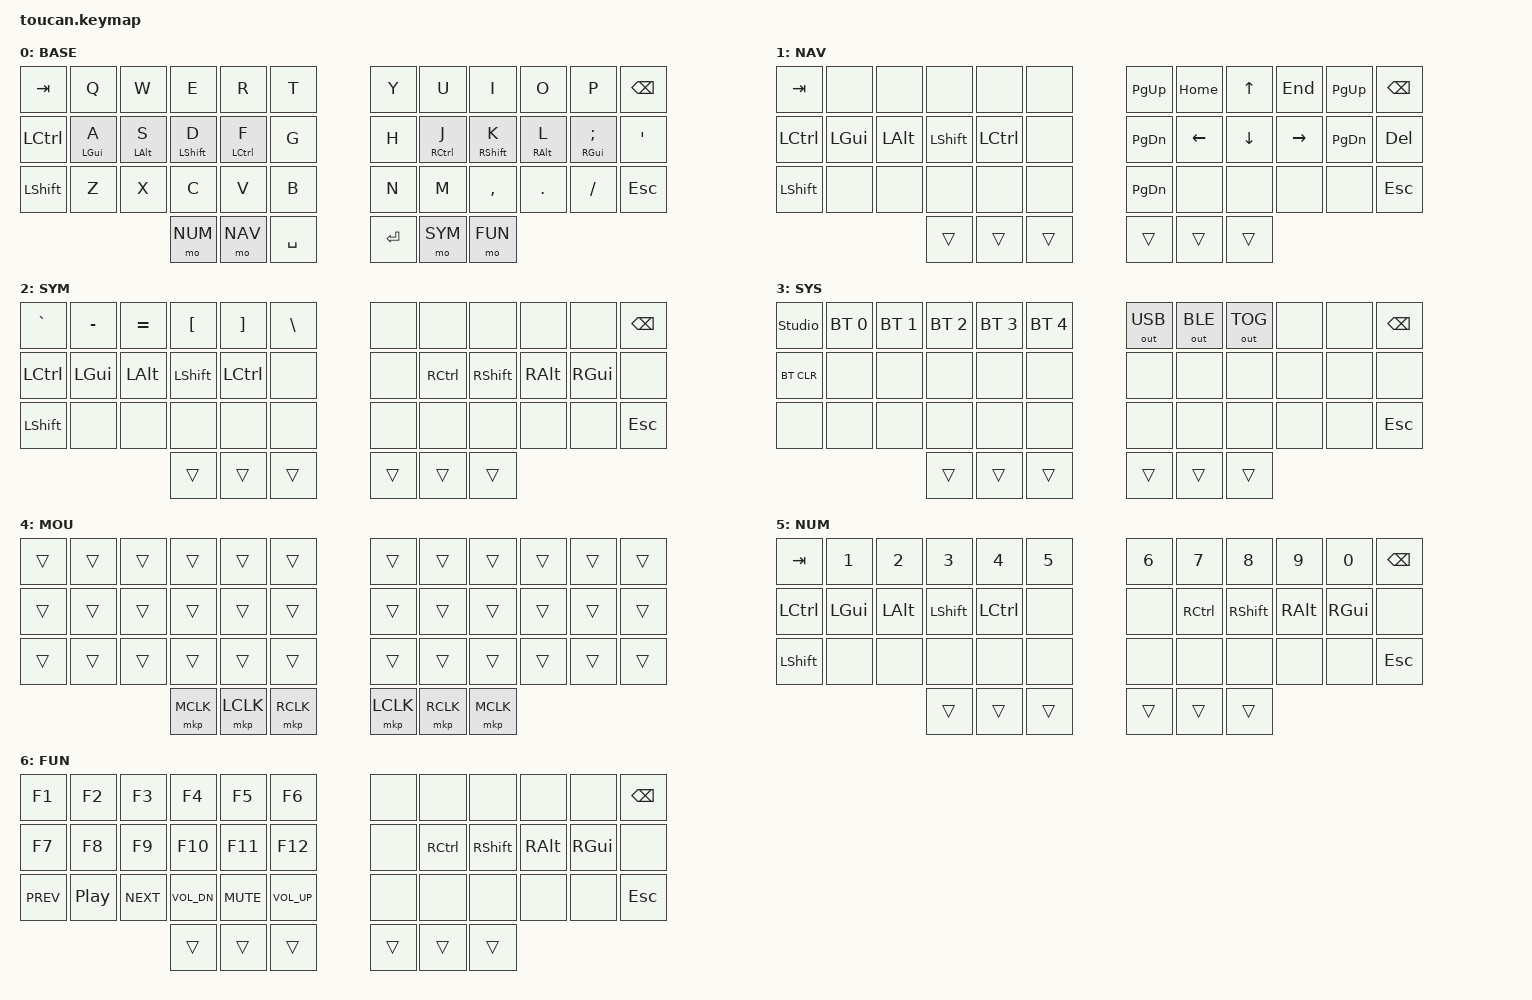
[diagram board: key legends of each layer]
#include <behaviors.dtsi>
#include <dt-bindings/zmk/keys.h>
#include <dt-bindings/zmk/bt.h>
#include <dt-bindings/zmk/outputs.h>
#include <dt-bindings/zmk/pointing.h>

#define BASE  0
#define NAV   1
#define SYM   2
#define SYS   3
#define MOUSE 4
#define NUM   5
#define FUN   6

/ {
    behaviors {
        hml: home_row_mod_left {
            compatible = "zmk,behavior-hold-tap";
            #binding-cells = <2>;

            flavor = "balanced";
            require-prior-idle-ms = <150>;
            tapping-term-ms = <280>;
            quick-tap-ms = <175>;

            bindings = <&kp>, <&kp>;

            hold-trigger-key-positions = <
                6 7 8 9 10 11
                18 19 20 21 22 23
                30 31 32 33 34 35
                39 40 41
            >;

            hold-trigger-on-release;

            display-name = "HRM Left";
        };

        hmr: home_row_mod_right {
            compatible = "zmk,behavior-hold-tap";
            #binding-cells = <2>;

            flavor = "balanced";
            require-prior-idle-ms = <150>;
            tapping-term-ms = <280>;
            quick-tap-ms = <175>;

            bindings = <&kp>, <&kp>;

            hold-trigger-key-positions = <
                0 1 2 3 4 5
                12 13 14 15 16 17
                24 25 26 27 28 29
                36 37 38
            >;

            hold-trigger-on-release;

            display-name = "HRM Right";
        };
    };

    conditional_layers {
        compatible = "zmk,conditional-layers";
        tri_layer {
            if-layers = <1 2>;
            then-layer = <3>;
        };
    };

    keymap {
        compatible = "zmk,keymap";

        base {
            display-name = "BASE";
            bindings = <
                &kp TAB   &kp Q &kp W &kp E &kp R &kp T   &kp Y &kp U  &kp I     &kp O   &kp P    &kp BSPC
                &kp LCTRL &hml LGUI A &hml LALT S &hml LSHFT D &hml LCTRL F &kp G   &kp H &hmr RCTRL J &hmr RSHFT K &hmr RALT L &hmr RGUI SEMI &kp SQT
                &kp LSHFT &kp Z &kp X &kp C &kp V &kp B   &kp N &kp M  &kp COMMA &kp DOT &kp FSLH &kp ESC
                                &mo NUM &mo NAV &kp SPACE   &kp RET &mo SYM &mo FUN
            >;
        };

        nav {
            display-name = "NAV";
            bindings = <
                &kp TAB   &none    &none     &none      &none     &none   &kp PG_UP &kp HOME &kp UP   &kp END   &kp PG_UP &kp BSPC
                &kp LCTRL &kp LGUI &kp LALT  &kp LSHFT  &kp LCTRL &none   &kp PG_DN &kp LEFT &kp DOWN &kp RIGHT &kp PG_DN &kp DEL
                &kp LSHFT &none    &none     &none      &none     &none   &kp PG_DN &none &none    &none     &none     &kp ESC
                                     &trans &trans &trans   &trans &trans &trans
            >;
        };

        sym {
            display-name = "SYM";
            bindings = <
                &kp GRAVE &kp MINUS &kp EQUAL &kp LBKT &kp RBKT &kp BSLH   &none &none     &none      &none    &none    &kp BSPC
                &kp LCTRL &kp LGUI  &kp LALT  &kp LSHFT &kp LCTRL &none   &none &kp RCTRL &kp RSHFT &kp RALT &kp RGUI &none
                &kp LSHFT &none     &none     &none      &none     &none   &none &none     &none      &none    &none    &kp ESC
                                         &trans &trans &trans   &trans &trans &trans
            >;
        };

        sys {
            display-name = "SYS";
            bindings = <
                &studio_unlock &bt BT_SEL 0 &bt BT_SEL 1 &bt BT_SEL 2 &bt BT_SEL 3 &bt BT_SEL 4   &out OUT_USB &out OUT_BLE &out OUT_TOG &none &none &kp BSPC
                &bt BT_CLR     &none        &none        &none        &none        &none          &none        &none        &none        &none &none &none
                &none          &none        &none        &none        &none        &none          &none        &none        &none        &none &none &kp ESC
                                                      &trans &trans &trans   &trans &trans &trans
            >;
        };

        mouse {
            display-name = "MOU";
            bindings = <
                &trans &trans &trans &trans &trans &trans           &trans &trans &trans &trans &trans &trans
                &trans &trans &trans &trans &trans &trans           &trans &trans &trans &trans &trans &trans
                &trans &trans &trans &trans &trans &trans           &trans &trans &trans &trans &trans &trans
                            &mkp MCLK &mkp LCLK &mkp RCLK           &mkp LCLK &mkp RCLK &mkp MCLK
            >;
        };

        num {
            display-name = "NUM";
            bindings = <
                &kp TAB   &kp N1   &kp N2   &kp N3    &kp N4    &kp N5   &kp N6 &kp N7    &kp N8    &kp N9   &kp N0   &kp BSPC
                &kp LCTRL &kp LGUI &kp LALT &kp LSHFT &kp LCTRL &none    &none   &kp RCTRL &kp RSHFT &kp RALT &kp RGUI &none
                &kp LSHFT &none    &none    &none     &none     &none    &none   &none     &none      &none    &none    &kp ESC
                                    &trans &trans &trans   &trans &trans &trans
            >;
        };

        fun {
            display-name = "FUN";
            bindings = <
                &kp F1     &kp F2         &kp F3   &kp F4      &kp F5   &kp F6       &none &none     &none      &none    &none    &kp BSPC
                &kp F7     &kp F8         &kp F9   &kp F10     &kp F11  &kp F12      &none &kp RCTRL &kp RSHFT &kp RALT &kp RGUI &none
                &kp C_PREV &kp C_PLAY_PAUSE &kp C_NEXT &kp C_VOL_DN &kp C_MUTE &kp C_VOL_UP   &none &none &none &none &none &kp ESC
                                                   &trans &trans &trans   &trans &trans &trans
            >;
        };
    };
};
